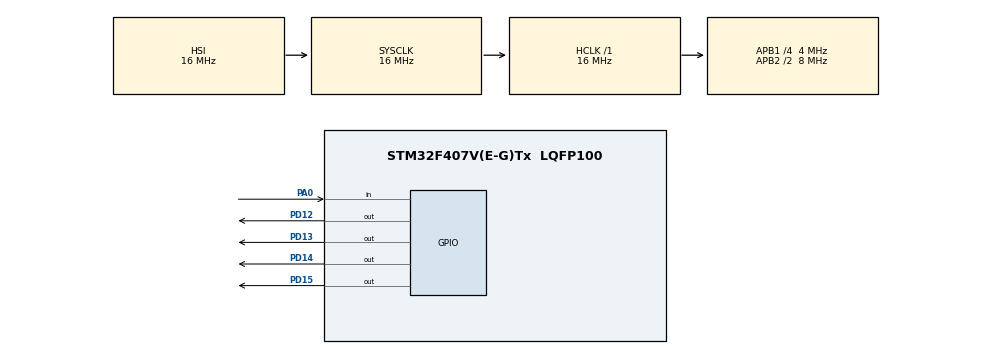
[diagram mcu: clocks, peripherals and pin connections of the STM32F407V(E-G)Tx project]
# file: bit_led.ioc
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Mcu.Family=STM32F4
Mcu.Name=STM32F407V(E-G)Tx
Mcu.Package=LQFP100
NVIC.PriorityGroup=NVIC_PRIORITYGROUP_0
PA0-WKUP.Signal=GPIO_Input
PD12.Signal=GPIO_Output
PD13.Signal=GPIO_Output
PD14.Signal=GPIO_Output
PD15.Signal=GPIO_Output
ProjectManager.HeapSize=0x200
ProjectManager.StackSize=0x400
ProjectManager.TargetToolchain=STM32CubeIDE
RCC.48MHZClocksFreq_Value=96000000
RCC.AHBFreq_Value=16000000
RCC.APB1CLKDivider=RCC_HCLK_DIV4
RCC.APB1Freq_Value=4000000
RCC.APB1TimFreq_Value=8000000
RCC.APB2CLKDivider=RCC_HCLK_DIV2
RCC.APB2Freq_Value=8000000
RCC.APB2TimFreq_Value=16000000
RCC.CortexFreq_Value=16000000
RCC.HCLKFreq_Value=16000000
RCC.HSE_VALUE=8000000
RCC.HSI_VALUE=16000000
RCC.PLLM=8
RCC.PLLN=336
RCC.PLLQ=7
RCC.SYSCLKFreq_VALUE=16000000
RCC.VCOOutputFreq_Value=672000000
board=STM32F407G-DISC1

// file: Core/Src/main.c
/* USER CODE BEGIN Header */
/**
  ******************************************************************************
  * @file           : main.c
  * @brief          : Main program body
  ******************************************************************************
  * @attention
  *
  * Copyright (c) 2026 STMicroelectronics.
  * All rights reserved.
  *
  * This software is licensed under terms that can be found in the LICENSE file
  * in the root directory of this software component.
  * If no LICENSE file comes with this software, it is provided AS-IS.
  *
  ******************************************************************************
  */
/* USER CODE END Header */
#include "main.h"

void SystemClock_Config(void);
static void MX_GPIO_Init(void);

int main(void)
{

  /* MCU Configuration--------------------------------------------------------*/

  /* Reset of all peripherals, Initializes the Flash interface and the Systick. */
  HAL_Init();

  /* Configure the system clock */
  SystemClock_Config();

  /* Initialize all configured peripherals */
  MX_GPIO_Init();
  /* USER CODE BEGIN 2 */
  RCC->AHB1ENR |= (1 << 3);
  GPIOD->MODER &= ~(3 << (12*2));
  GPIOD->MODER |= (1<< (12*2));

  GPIOD->MODER &= ~(3 << (13*2));
    GPIOD->MODER |= (1<< (13*2));

    GPIOD->MODER &= ~(3 << (14*2));
      GPIOD->MODER |= (1<< (14*2));

      GPIOD->MODER &= ~(3 << (15*2));
        GPIOD->MODER |= (1<< (15*2));

  /* USER CODE END 2 */

  /* Infinite loop */
  while (1)
  {

    /* USER CODE BEGIN 3 */
	  GPIOD->ODR |= (1 << 12);
	  HAL_Delay(500);
	  GPIOD->ODR &= ~(1 << 12);
	  HAL_Delay(500);

	  GPIOD->ODR |= (1 << 13);
	  HAL_Delay(500);
	  GPIOD->ODR &= ~(1 << 13);
	  HAL_Delay(500);

	  GPIOD->ODR |= (1 << 14);
	  HAL_Delay(500);
	  GPIOD->ODR &= ~(1 << 14);
	  HAL_Delay(500);

	  	GPIOD->ODR |= (1 << 15);
	  	HAL_Delay(500);
	  	GPIOD->ODR &= ~(1 << 15);
	  	HAL_Delay(500);

  /* USER CODE END 3 */
}

void SystemClock_Config(void)
{
  RCC_OscInitTypeDef RCC_OscInitStruct = {0};
  RCC_ClkInitTypeDef RCC_ClkInitStruct = {0};

  /** Configure the main internal regulator output voltage
  */
  __HAL_RCC_PWR_CLK_ENABLE();
  __HAL_PWR_VOLTAGESCALING_CONFIG(PWR_REGULATOR_VOLTAGE_SCALE1);

  /** Initializes the RCC Oscillators according to the specified parameters
  * in the RCC_OscInitTypeDef structure.
  */
  RCC_OscInitStruct.OscillatorType = RCC_OSCILLATORTYPE_HSI;
  RCC_OscInitStruct.HSIState = RCC_HSI_ON;
  RCC_OscInitStruct.HSICalibrationValue = RCC_HSICALIBRATION_DEFAULT;
  RCC_OscInitStruct.PLL.PLLState = RCC_PLL_NONE;
  if (HAL_RCC_OscConfig(&RCC_OscInitStruct) != HAL_OK)
  {
    Error_Handler();
  }

  /** Initializes the CPU, AHB and APB buses clocks
  */
  RCC_ClkInitStruct.ClockType = RCC_CLOCKTYPE_HCLK|RCC_CLOCKTYPE_SYSCLK
                              |RCC_CLOCKTYPE_PCLK1|RCC_CLOCKTYPE_PCLK2;
  RCC_ClkInitStruct.SYSCLKSource = RCC_SYSCLKSOURCE_HSI;
  RCC_ClkInitStruct.AHBCLKDivider = RCC_SYSCLK_DIV1;
  RCC_ClkInitStruct.APB1CLKDivider = RCC_HCLK_DIV4;
  RCC_ClkInitStruct.APB2CLKDivider = RCC_HCLK_DIV2;

  if (HAL_RCC_ClockConfig(&RCC_ClkInitStruct, FLASH_LATENCY_0) != HAL_OK)
  {
    Error_Handler();
  }
}

static void MX_GPIO_Init(void)
{
  GPIO_InitTypeDef GPIO_InitStruct = {0};

  /* GPIO Ports Clock Enable */
  __HAL_RCC_GPIOA_CLK_ENABLE();
  __HAL_RCC_GPIOD_CLK_ENABLE();

  /*Configure GPIO pin Output Level */
  HAL_GPIO_WritePin(GPIOD, GPIO_PIN_12|GPIO_PIN_13|GPIO_PIN_14|GPIO_PIN_15, GPIO_PIN_RESET);

  /*Configure GPIO pin : PA0 */
  GPIO_InitStruct.Pin = GPIO_PIN_0;
  GPIO_InitStruct.Mode = GPIO_MODE_INPUT;
  GPIO_InitStruct.Pull = GPIO_NOPULL;
  HAL_GPIO_Init(GPIOA, &GPIO_InitStruct);

  /*Configure GPIO pins : PD12 PD13 PD14 PD15 */
  GPIO_InitStruct.Pin = GPIO_PIN_12|GPIO_PIN_13|GPIO_PIN_14|GPIO_PIN_15;
  GPIO_InitStruct.Mode = GPIO_MODE_OUTPUT_PP;
  GPIO_InitStruct.Pull = GPIO_NOPULL;
  GPIO_InitStruct.Speed = GPIO_SPEED_FREQ_LOW;
  HAL_GPIO_Init(GPIOD, &GPIO_InitStruct);

}

void Error_Handler(void)
{
  __disable_irq();
  while (1)
  {
  }
}
